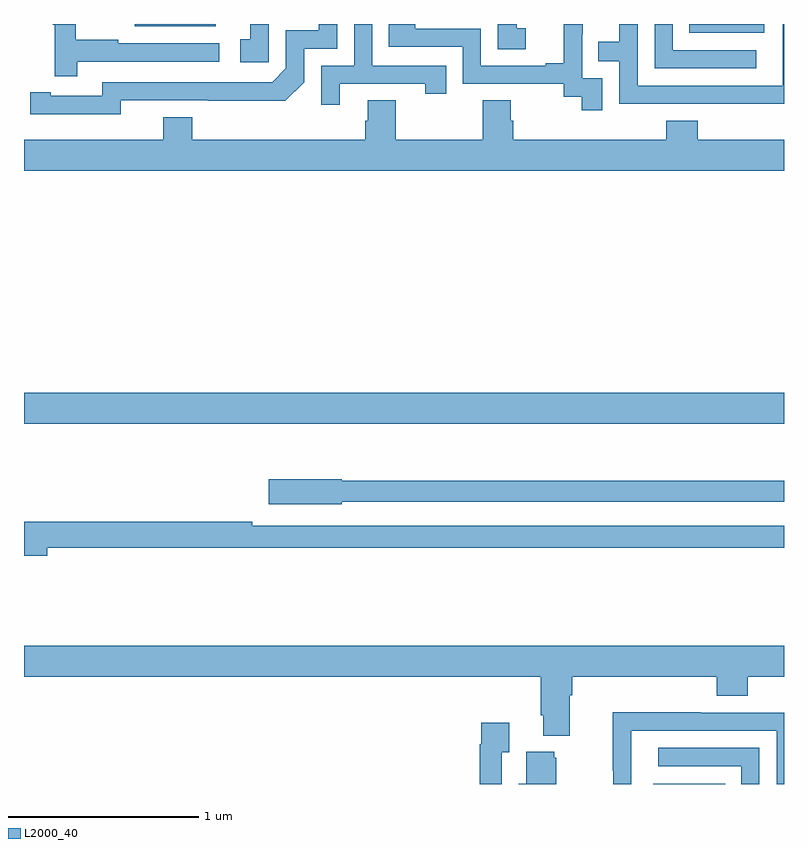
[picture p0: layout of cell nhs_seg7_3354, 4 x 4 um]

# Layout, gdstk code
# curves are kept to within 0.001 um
import gdstk
lib = gdstk.Library(unit=1e-6, precision=1e-09)
def R(c, l, rs):  # rectangles x0, y0, x1, y1
    for r in rs: c.add(gdstk.rectangle(r[:2], r[2:], *l))
def P(c, l, *ps):  # polygons
    for p in ps: c.add(gdstk.Polygon(p, *l))
L2000_40 = (2000, 40)

nhs_seg7_3354 = lib.new_cell('nhs_seg7_3354')
R(nhs_seg7_3354, L2000_40, [(326.312,1052,326.69,1052.002), (323,1053.896,327,1054.06), (326.5,1055.954,326.896,1056), (323.583,1055.987,324.01,1056)])
P(nhs_seg7_3354, L2000_40, [(323.279,1055.802),(324.028,1055.802),(324.028,1055.898),(323.495,1055.898),(323.495,1055.918),(323.272,1055.918),(323.272,1056),(323.151,1056),(323.151,1055.995),(323.162,1055.995),(323.162,1055.724),(323.279,1055.724)],
  [(326.854,1055.862),(326.415,1055.862),(326.415,1056),(326.319,1056),(326.319,1055.766),(326.854,1055.766)],
  [(325.642,1055.977),(325.593,1055.977),(325.593,1056),(325.494,1056),(325.494,1055.868),(325.642,1055.868)],
  [(324.661,1055.685),(325.112,1055.685),(325.112,1055.634),(325.223,1055.634),(325.223,1055.781),(324.834,1055.781),(324.834,1056),(324.738,1056),(324.738,1055.781),(324.564,1055.781),(324.564,1055.574),(324.661,1055.574)],
  [(326.043,1055.715),(325.938,1055.715),(325.938,1055.945),(325.94,1055.945),(325.94,1056),(325.841,1056),(325.841,1055.794),(325.745,1055.794),(325.745,1055.781),(325.404,1055.781),(325.404,1055.976),(325.059,1055.976),(325.059,1056),(324.919,1056),(324.919,1055.88),(325.308,1055.88),(325.308,1055.685),(325.842,1055.685),(325.842,1055.617),(325.935,1055.617),(325.935,1055.547),(326.043,1055.547)],
  [(324.288,1056),(324.191,1056),(324.191,1055.919),(324.138,1055.919),(324.138,1055.799),(324.288,1055.799)],
  [(327,1056),(326.994,1056),(326.994,1055.93),(326.993,1055.93),(326.993,1055.676),(326.229,1055.676),(326.229,1056),(326.133,1056),(326.133,1055.906),(326.023,1055.906),(326.023,1055.805),(326.133,1055.805),(326.133,1055.58),(326.629,1055.58),(326.629,1055.579),(327,1055.579)],
  [(323.508,1055.598),(324.376,1055.597),(324.474,1055.694),(324.474,1055.871),(324.648,1055.871),(324.648,1056),(324.551,1056),(324.551,1055.967),(324.378,1055.967),(324.378,1055.766),(324.306,1055.694),(323.412,1055.694),(323.412,1055.622),(323.14,1055.622),(323.14,1055.642),(323.032,1055.642),(323.032,1055.526),(323.508,1055.525)],
  [(327,1055.392),(326.546,1055.392),(326.546,1055.491),(326.381,1055.491),(326.381,1055.392),(325.574,1055.392),(325.574,1055.49),(325.561,1055.49),(325.561,1055.6),(325.414,1055.6),(325.414,1055.392),(324.957,1055.392),(324.957,1055.6),(324.809,1055.6),(324.809,1055.49),(324.797,1055.49),(324.797,1055.392),(323.885,1055.392),(323.885,1055.509),(323.732,1055.509),(323.732,1055.392),(323,1055.392),(323,1055.228),(327,1055.228)],
  [(324.672,1053.486),(327,1053.486),(327,1053.595),(324.672,1053.595),(324.672,1053.603),(324.288,1053.603),(324.288,1053.473),(324.672,1053.473)],
  [(323.122,1053.244),(327,1053.244),(327,1053.36),(324.2,1053.36),(324.2,1053.38),(323,1053.38),(323,1053.202),(323.122,1053.202)],
  [(325.873,1052.468),(325.886,1052.468),(325.886,1052.564),(326.645,1052.564),(326.645,1052.465),(326.81,1052.465),(326.81,1052.564),(327,1052.564),(327,1052.728),(323,1052.728),(323,1052.564),(325.721,1052.564),(325.721,1052.362),(325.733,1052.362),(325.733,1052.255),(325.873,1052.255)],
  [(326.196,1052.28),(326.961,1052.28),(326.961,1052),(327,1052),(327,1052.376),(326.561,1052.376),(326.561,1052.378),(326.098,1052.378),(326.098,1052.071),(326.1,1052.071),(326.1,1052),(326.196,1052)],
  [(325.515,1052.167),(325.555,1052.167),(325.555,1052.323),(325.407,1052.323),(325.407,1052.21),(325.399,1052.21),(325.399,1052),(325.515,1052)],
  [(326.871,1052.19),(326.337,1052.19),(326.337,1052.094),(326.775,1052.094),(326.775,1052),(326.871,1052)],
  [(325.801,1052.139),(325.79,1052.139),(325.79,1052.17),(325.643,1052.17),(325.643,1052.002),(325.604,1052.002),(325.604,1052),(325.801,1052)])

lib.write_gds('nhs_seg7_3354.gds')
